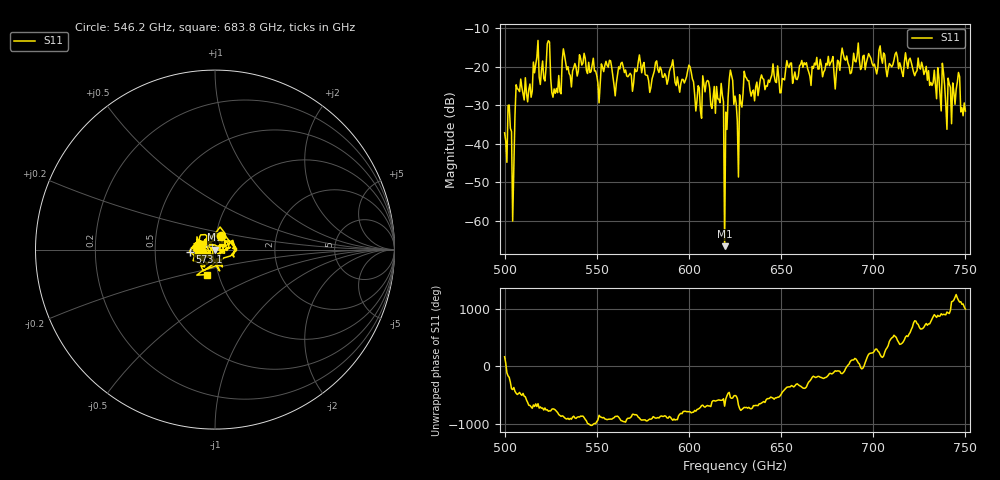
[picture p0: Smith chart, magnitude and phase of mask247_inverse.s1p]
!Created with skrf (http://scikit-rf.org).
# GHz S MA R 50.0
!freq magS11 angS11
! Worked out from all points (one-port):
!   401 points, 500 GHz to 750 GHz, reference 50 ohm
!   lowest |S11| = -66.6 dB at 619.4 GHz (marker M1), VSWR 1.00, Z = 50 + j0.0232 ohm
!   |S11| at or under -10 dB: start of sweep to end of sweep
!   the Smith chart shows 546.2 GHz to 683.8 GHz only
!   S11 on the Smith chart (normalised r, x): 546.2 GHz: 1.06, +0.16; 573.1 GHz: 0.75, -0.02; 683.8 GHz: 0.88, -0.25
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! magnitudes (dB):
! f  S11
! 500 GHz  -37.2
! 502.5 GHz  -29.9
! 504.4 GHz  -60.1
! 507.5 GHz  -25.9
! 513.8 GHz  -24.5
! 516.9 GHz  -19.4
! 520.6 GHz  -18.5
! 523.8 GHz  -13.2
! 526.9 GHz  -25.8
! 531.2 GHz  -18.4
! 546.2 GHz  -21.5
! 562.5 GHz  -20.6
! 573.1 GHz  -16.9
! 593.8 GHz  -22.6
! 617.5 GHz  -24.3
! 619.4 GHz  -66.6
! 620.6 GHz  -36.3
! 622.5 GHz  -20.9
! 625 GHz  -27.6
! 627.5 GHz  -27.3
! 631.2 GHz  -23.0
! 656.2 GHz  -24.3
! 683.8 GHz  -16.7
! 687.5 GHz  -21.8
! 718.8 GHz  -20.4
! 741.2 GHz  -24.5
! 745.6 GHz  -24.0
! 750 GHz  -31.5
